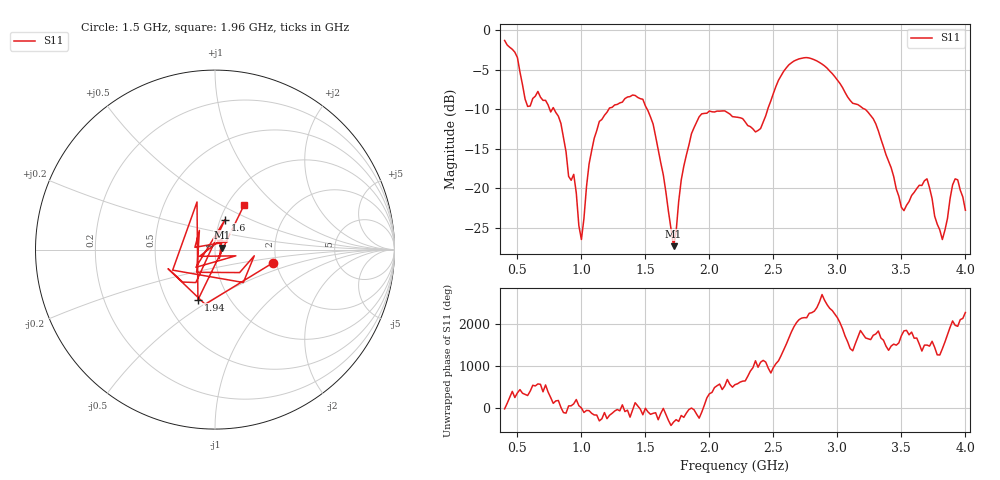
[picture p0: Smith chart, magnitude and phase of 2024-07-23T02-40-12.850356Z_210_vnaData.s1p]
!Created with skrf (http://scikit-rf.org).
# Hz S RI R 50.0
!freq ReS11 ImS11
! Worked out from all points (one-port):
!   181 points, 400 MHz to 4 GHz, reference 50 ohm
!   lowest |S11| = -27.4 dB at 1.72 GHz (marker M1), VSWR 1.09, Z = 54.3 + j1.24 ohm
!   |S11| at or under -10 dB: 787 MHz to 1.214 GHz (426.7 MHz wide, 42.7 % of centre); 1.514 GHz to 2.456 GHz (941.9 MHz wide, 47.5 % of centre); 3.216 GHz to end of sweep (the widest 3 of 4)
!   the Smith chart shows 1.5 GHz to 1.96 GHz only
!   S11 on the Smith chart (normalised r, x): 1.5 GHz: 1.92, -0.32; 1.6 GHz: 1.05, +0.36; 1.94 GHz: 0.71, -0.44; 1.96 GHz: 1.19, +0.65
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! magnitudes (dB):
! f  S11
! 400 MHz  -1.3
! 500 MHz  -3.4
! 580 MHz  -9.6
! 660 MHz  -7.7
! 860 MHz  -13.6
! 900 MHz  -18.5
! 940 MHz  -18.3
! 1 GHz  -26.5
! 1.1 GHz  -13.7
! 1.3 GHz  -9.2
! 1.5 GHz  -9.6
! 1.6 GHz  -15.1
! 1.72 GHz  -27.4
! 1.76 GHz  -21.7
! 1.86 GHz  -13.1
! 1.94 GHz  -10.6
! 1.96 GHz  -10.5
! 2.2 GHz  -11.0
! 2.4 GHz  -12.4
! 2.66 GHz  -3.9
! 3.1 GHz  -8.9
! 3.28 GHz  -11.2
! 3.5 GHz  -22.4
! 3.56 GHz  -21.7
! 3.7 GHz  -18.8
! 3.82 GHz  -26.5
! 3.92 GHz  -18.8
! 4 GHz  -22.8
